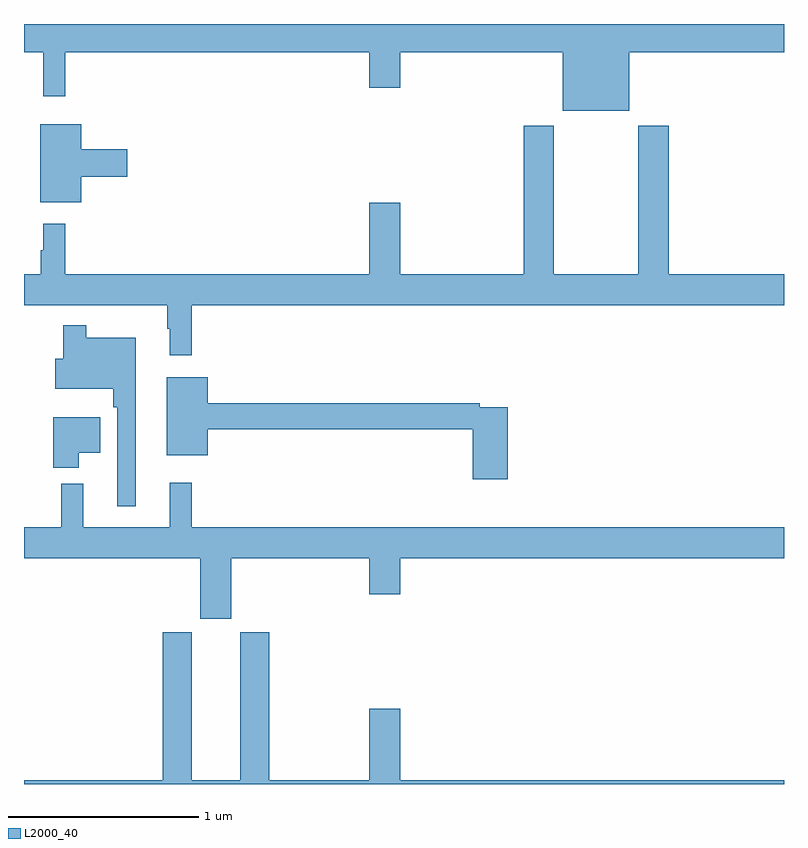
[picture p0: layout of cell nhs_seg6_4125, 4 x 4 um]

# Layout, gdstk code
import gdstk
lib = gdstk.Library(unit=1e-6, precision=1e-09)
def P(c, l, *ps):  # polygons
    for p in ps: c.add(gdstk.Polygon(p, *l))
L2000_40 = (2000, 40)

nhs_seg6_4125 = lib.new_cell('nhs_seg6_4125')
P(nhs_seg6_4125, L2000_40, [(358.186,931.352),(359,931.352),(359,931.5),(355,931.5),(355,931.352),(355.1,931.352),(355.1,931.119),(355.217,931.119),(355.217,931.352),(356.816,931.352),(356.816,931.164),(356.98,931.164),(356.98,931.352),(357.836,931.352),(357.836,931.043),(358.186,931.043)],
  [(355.3,930.695),(355.543,930.695),(355.543,930.842),(355.3,930.842),(355.3,930.973),(355.085,930.973),(355.085,930.563),(355.3,930.563)],
  [(355.883,930.02),(359,930.02),(359,930.184),(358.394,930.184),(358.394,930.964),(358.234,930.964),(358.234,930.184),(357.789,930.184),(357.789,930.964),(357.629,930.964),(357.629,930.184),(356.98,930.184),(356.98,930.559),(356.816,930.559),(356.816,930.184),(355.217,930.184),(355.217,930.448),(355.1,930.448),(355.1,930.308),(355.089,930.308),(355.089,930.184),(355,930.184),(355,930.02),(355.755,930.02),(355.755,929.897),(355.766,929.897),(355.766,929.757),(355.883,929.757)],
  [(355.588,929.848),(355.327,929.848),(355.327,929.914),(355.206,929.914),(355.206,929.737),(355.164,929.737),(355.164,929.579),(355.471,929.579),(355.471,929.483),(355.491,929.483),(355.491,928.962),(355.588,928.962)],
  [(357.545,929.484),(357.398,929.484),(357.398,929.504),(355.966,929.504),(355.966,929.641),(355.751,929.641),(355.751,929.231),(355.966,929.231),(355.966,929.368),(357.362,929.368),(357.362,929.103),(357.545,929.103)],
  [(355.288,929.243),(355.402,929.243),(355.402,929.431),(355.154,929.431),(355.154,929.165),(355.288,929.165)],
  [(356.092,928.688),(356.816,928.688),(356.816,928.5),(356.98,928.5),(356.98,928.688),(359,928.688),(359,928.852),(355.883,928.852),(355.883,929.086),(355.766,929.086),(355.766,928.852),(355.313,928.852),(355.313,929.08),(355.195,929.08),(355.195,928.852),(355,928.852),(355,928.688),(355.928,928.688),(355.928,928.371),(356.092,928.371)],
  [(359,927.52),(356.98,927.52),(356.98,927.895),(356.816,927.895),(356.816,927.52),(356.291,927.52),(356.291,928.299),(356.138,928.299),(356.138,927.52),(355.882,927.52),(355.882,928.299),(355.73,928.299),(355.73,927.52),(355,927.52),(355,927.5),(359,927.5)])

lib.write_gds('nhs_seg6_4125.gds')
